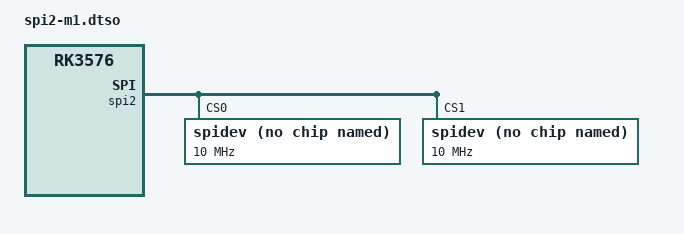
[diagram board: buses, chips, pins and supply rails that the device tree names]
// SPDX-License-Identifier: GPL-2.0-only
// SPI2 (M1) with spidev on CS0 and CS1. Written by tools/gen-interfaces.py.
/dts-v1/;
/plugin/;

/ {
	compatible = "radxa,rock-4d", "rockchip,rk3576";
};

&spi2 {
	pinctrl-names = "default";
	pinctrl-0 = <&spi2m1_csn0 &spi2m1_csn1 &spi2m1_pins>;
	status = "okay";

	spidev@0 {
		compatible = "rockchip,spidev";
		reg = <0>;
		spi-max-frequency = <10000000>;
	};

	spidev@1 {
		compatible = "rockchip,spidev";
		reg = <1>;
		spi-max-frequency = <10000000>;
	};
};
